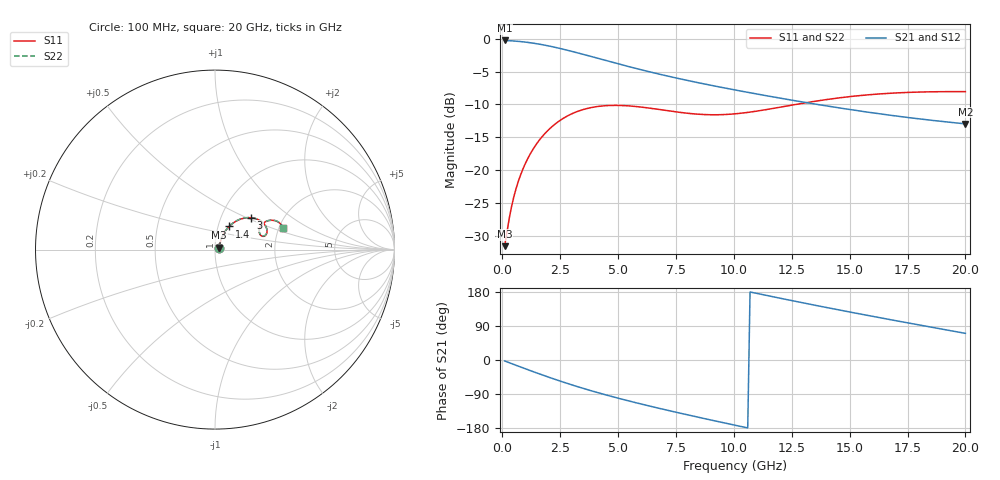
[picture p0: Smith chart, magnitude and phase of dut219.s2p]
! Touchstone file exported from HFSS 2024.1.0
!  File:  C:/UserFiles/LocalFiles/RDL_TSV_Batchsim/temp_RDL_TSV_219_1779448456.aedt
!  Generated:  07:58:03 PM May 22, 2026
!  Design:  RDL_TSV
!  Project:  temp_RDL_TSV_219_1779448456
!  Setup:  Setup1
!  Solution:  Sweep
! Variables:
!  dtsv = 5.08um
!  hbump = 3um
!  htsv = 94.38um
!  ldown = 533.35um
!  lrdl = 653.6um
!  p = 40
!  p1 = 59.33um
!  rhole = 10um
!  subl = 4214.45um
!  t = 450um
!  tdown = 4.27um
!  trdl = 2.33um
!  viad = 10um
!  wdown = 19.1um
!  wrdl = 23um
!  xbump = 18um
# GHz S MA R 50.000000
! Terminal data exported
! Port[1] = TM1_1_T1
! Port[2] = TM1_4_T1
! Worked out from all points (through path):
!   200 points, 100 MHz to 20 GHz, reference 50 ohm
!   highest |S21| = -0.26 dB at 100 MHz (marker M1); lowest = -12.9 dB at 20 GHz (marker M2)
!   group delay of S21, straight-line fit = 38.3 ps
!   lowest |S11| = -31.6 dB at 100 MHz (marker M3), VSWR 1.05, Z = 52.4 + j1.19 ohm
!   |S11| at or under -10 dB: start of sweep to 12.67 GHz
!   |S22| runs from -31.6 to -8.0 dB; largest |S21 - S12| = 1.1e-14
!   S11 on the Smith chart (normalised r, x): 100 MHz: 1.05, +0.02; 1.4 GHz: 1.13, +0.30; 3 GHz: 1.39, +0.53; 20 GHz: 2.09, +0.60
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0.1  0.02641 25.4  0.9703 -2.4  0.9703 -2.4  0.02621 25.3
! Gamma 0 0 0 0
! Port Impedance 50 0 50 0
0.4  0.05284 55.4  0.9639 -9.5  0.9639 -9.5  0.05218 55.3
0.6  0.07295 59.8  0.9581 -14.1  0.9581 -14.1  0.07201 59.8
0.8  0.093 61.1  0.951 -18.7  0.951 -18.7  0.09181 61.2
1  0.1128 60.9  0.9426 -23.3  0.9426 -23.3  0.1114 61.2
1.4  0.1511 58.6  0.9217 -32.2  0.9217 -32.2  0.1494 58.9
1.8  0.1867 54.8  0.8961 -41.0  0.8961 -41.0  0.1849 55.3
2.2  0.2186 50.5  0.8668 -49.5  0.8668 -49.5  0.2168 51.0
2.6  0.246 45.9  0.8351 -57.7  0.8351 -57.7  0.2445 46.5
3  0.2685 41.3  0.802 -65.6  0.802 -65.6  0.2672 41.9
3.5  0.2895 35.9  0.7604 -75.0  0.7604 -75.0  0.2886 36.4
4.3  0.3078 28.1  0.6961 -89.2  0.6961 -89.2  0.3074 28.6
5.1  0.3107 22.0  0.6377 -102.3  0.6377 -102.3  0.3109 22.5
5.9  0.3034 17.8  0.5864 -114.7  0.5864 -114.7  0.304 18.2
6.8  0.2892 15.4  0.5366 -127.9  0.5366 -127.9  0.2901 15.9
8.4  0.267 17.3  0.4652 -150.2  0.4652 -150.2  0.2683 17.6
10.1  0.2688 23.7  0.4061 -172.8  0.4061 -172.8  0.2702 23.9
11.8  0.2971 28.2  0.3581 165.5  0.3581 165.5  0.2984 28.4
13.4  0.3321 28.7  0.3207 145.8  0.3207 145.8  0.3333 28.8
15  0.3627 26.7  0.2895 126.7  0.2895 126.7  0.3638 26.8
16.7  0.3843 23.5  0.2626 107.1  0.2626 107.1  0.3855 23.6
20  0.3956 17.9  0.2252 70.3  0.2252 70.3  0.3967 18.0
